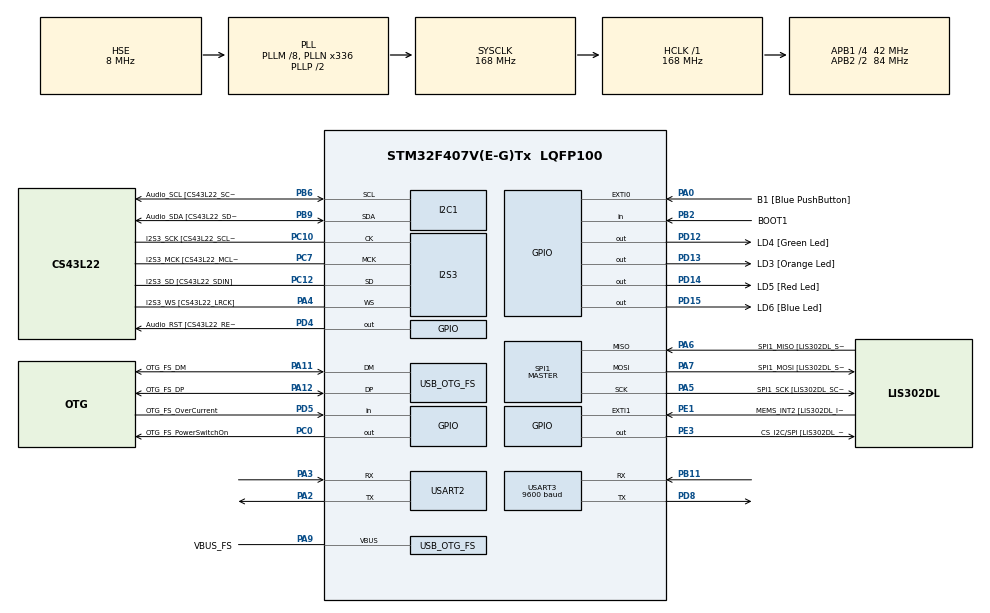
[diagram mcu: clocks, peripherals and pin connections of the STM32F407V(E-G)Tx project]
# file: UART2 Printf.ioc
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I2S3.AudioFreq-Half_Duplex_Master=I2S_AUDIOFREQ_96K
I2S3.ErrorAudioFreq=-2.34 %
I2S3.ErrorAudioFreq-Half_Duplex_Master=0.8 %
I2S3.FullDuplexMode=I2S_FULLDUPLEXMODE_DISABLE
I2S3.Instance=SPI$Index
I2S3.RealAudioFreq=93.75 KHz
I2S3.RealAudioFreq-Half_Duplex_Master=96.774 KHz
I2S3.VirtualMode=I2S_MODE_MASTER
Mcu.Family=STM32F4
Mcu.Name=STM32F407V(E-G)Tx
Mcu.Package=LQFP100
NVIC.OTG_FS_IRQn=true\:0\:0\:false\:false\:true\:true\:true
NVIC.PriorityGroup=NVIC_PRIORITYGROUP_0
PA0-WKUP.GPIO_Label=B1 [Blue PushButton]
PA0-WKUP.GPIO_ModeDefaultEXTI=GPIO_MODE_EVT_RISING
PA0-WKUP.GPIO_PuPd=GPIO_NOPULL
PA0-WKUP.Signal=GPXTI0
PA10.GPIO_Label=OTG_FS_ID
PA10.GPIO_Mode=GPIO_MODE_AF_PP
PA10.GPIO_PuPd=GPIO_NOPULL
PA10.GPIO_Speed=GPIO_SPEED_FREQ_LOW
PA10.Signal=USB_OTG_FS_ID
PA11.GPIO_Label=OTG_FS_DM
PA11.GPIO_Mode=GPIO_MODE_AF_PP
PA11.GPIO_PuPd=GPIO_NOPULL
PA11.GPIO_Speed=GPIO_SPEED_FREQ_LOW
PA11.Mode=Host_Only
PA11.Signal=USB_OTG_FS_DM
PA12.GPIO_Label=OTG_FS_DP
PA12.GPIO_Mode=GPIO_MODE_AF_PP
PA12.GPIO_PuPd=GPIO_NOPULL
PA12.GPIO_Speed=GPIO_SPEED_FREQ_LOW
PA12.Mode=Host_Only
PA12.Signal=USB_OTG_FS_DP
PA13.GPIO_Label=SWDIO
PA13.Mode=Serial_Wire
PA13.Signal=SYS_JTMS-SWDIO
PA14.GPIO_Label=SWCLK
PA14.Mode=Serial_Wire
PA14.Signal=SYS_JTCK-SWCLK
PA2.Mode=Asynchronous
PA2.Signal=USART2_TX
PA3.Mode=Asynchronous
PA3.Signal=USART2_RX
PA4.GPIO_Label=I2S3_WS [CS43L22_LRCK]
PA4.GPIO_Mode=GPIO_MODE_AF_PP
PA4.GPIO_PuPd=GPIO_NOPULL
PA4.GPIO_Speed=GPIO_SPEED_FREQ_LOW
PA4.Mode=Half_Duplex_Master
PA4.Signal=I2S3_WS
PA5.GPIO_Label=SPI1_SCK [LIS302DL_SCL/SPC]
PA5.GPIO_Mode=GPIO_MODE_AF_PP
PA5.GPIO_PuPd=GPIO_NOPULL
PA5.GPIO_Speed=GPIO_SPEED_FREQ_LOW
PA5.Mode=Full_Duplex_Master
PA5.Signal=SPI1_SCK
PA6.GPIO_Label=SPI1_MISO [LIS302DL_SDO]
PA6.GPIO_Mode=GPIO_MODE_AF_PP
PA6.GPIO_PuPd=GPIO_NOPULL
PA6.GPIO_Speed=GPIO_SPEED_FREQ_LOW
PA6.Mode=Full_Duplex_Master
PA6.Signal=SPI1_MISO
PA7.GPIO_Label=SPI1_MOSI [LIS302DL_SDA/SDI/SDO]
PA7.GPIO_Mode=GPIO_MODE_AF_PP
PA7.GPIO_PuPd=GPIO_NOPULL
PA7.GPIO_Speed=GPIO_SPEED_FREQ_LOW
PA7.Mode=Full_Duplex_Master
PA7.Signal=SPI1_MOSI
PA9.GPIO_Label=VBUS_FS
PA9.GPIO_Mode=GPIO_MODE_INPUT
PA9.GPIO_PuPd=GPIO_NOPULL
PA9.Mode=Activate_VBUS
PA9.Signal=USB_OTG_FS_VBUS
PB10.GPIO_Label=CLK_IN [MP45DT02_CLK]
PB10.GPIO_Mode=GPIO_MODE_AF_PP
PB10.GPIO_PuPd=GPIO_NOPULL
PB10.GPIO_Speed=GPIO_SPEED_FREQ_LOW
PB10.Signal=I2S2_CK
PB11.Mode=Asynchronous
PB11.Signal=USART3_RX
PB2.GPIO_Label=BOOT1
PB2.GPIO_Mode=GPIO_MODE_INPUT
PB2.GPIO_PuPd=GPIO_NOPULL
PB2.Signal=GPIO_Input
PB3.GPIO_Label=SWO
PB3.Signal=SYS_JTDO-SWO
PB6.GPIO_Label=Audio_SCL [CS43L22_SCL]
PB6.GPIO_Mode=GPIO_MODE_AF_OD
PB6.GPIO_Pu=GPIO_PULLUP
PB6.GPIO_PuPd=GPIO_NOPULL
PB6.GPIO_Speed=GPIO_SPEED_FREQ_LOW
PB6.Mode=I2C
PB6.Signal=I2C1_SCL
PB9.GPIO_Label=Audio_SDA [CS43L22_SDA]
PB9.GPIO_Mode=GPIO_MODE_AF_OD
PB9.GPIO_Pu=GPIO_PULLUP
PB9.GPIO_PuPd=GPIO_NOPULL
PB9.GPIO_Speed=GPIO_SPEED_FREQ_LOW
PB9.Mode=I2C
PB9.Signal=I2C1_SDA
PC0.GPIO_Label=OTG_FS_PowerSwitchOn
PC0.GPIO_PuPd=GPIO_NOPULL
PC0.GPIO_Speed=GPIO_SPEED_FREQ_LOW
PC0.PinState=GPIO_PIN_SET
PC0.Signal=GPIO_Output
PC10.GPIO_Label=I2S3_SCK [CS43L22_SCLK]
PC10.GPIO_Mode=GPIO_MODE_AF_PP
PC10.GPIO_PuPd=GPIO_NOPULL
PC10.GPIO_Speed=GPIO_SPEED_FREQ_LOW
PC10.Mode=Half_Duplex_Master
PC10.Signal=I2S3_CK
PC12.GPIO_Label=I2S3_SD [CS43L22_SDIN]
PC12.GPIO_Mode=GPIO_MODE_AF_PP
PC12.GPIO_PuPd=GPIO_NOPULL
PC12.GPIO_Speed=GPIO_SPEED_FREQ_LOW
PC12.Mode=Half_Duplex_Master
PC12.Signal=I2S3_SD
PC14-OSC32_IN.GPIO_Label=PC14-OSC32_IN
PC14-OSC32_IN.Mode=LSE-External-Oscillator
PC14-OSC32_IN.Signal=RCC_OSC32_IN
PC15-OSC32_OUT.GPIO_Label=PC15-OSC32_OUT
PC15-OSC32_OUT.Mode=LSE-External-Oscillator
PC15-OSC32_OUT.Signal=RCC_OSC32_OUT
PC3.GPIO_Label=PDM_OUT [MP45DT02_DOUT]
PC3.GPIO_Mode=GPIO_MODE_AF_PP
PC3.GPIO_PuPd=GPIO_NOPULL
PC3.GPIO_Speed=GPIO_SPEED_FREQ_LOW
PC3.Signal=I2S2_SD
PC7.GPIO_Label=I2S3_MCK [CS43L22_MCLK]
PC7.GPIO_Mode=GPIO_MODE_AF_PP
PC7.GPIO_PuPd=GPIO_NOPULL
PC7.GPIO_Speed=GPIO_SPEED_FREQ_LOW
PC7.Mode=Master_Clock_Activated
PC7.Signal=I2S3_MCK
PD12.GPIO_Label=LD4 [Green Led]
PD12.GPIO_PuPd=GPIO_NOPULL
PD12.GPIO_Speed=GPIO_SPEED_FREQ_LOW
PD12.Signal=GPIO_Output
PD13.GPIO_Label=LD3 [Orange Led]
PD13.GPIO_PuPd=GPIO_NOPULL
PD13.GPIO_Speed=GPIO_SPEED_FREQ_LOW
PD13.Signal=GPIO_Output
PD14.GPIO_Label=LD5 [Red Led]
PD14.GPIO_PuPd=GPIO_NOPULL
PD14.GPIO_Speed=GPIO_SPEED_FREQ_LOW
PD14.Signal=GPIO_Output
PD15.GPIO_Label=LD6 [Blue Led]
PD15.GPIO_PuPd=GPIO_NOPULL
PD15.GPIO_Speed=GPIO_SPEED_FREQ_LOW
PD15.Signal=GPIO_Output
PD4.GPIO_Label=Audio_RST [CS43L22_RESET]
PD4.GPIO_PuPd=GPIO_NOPULL
PD4.GPIO_Speed=GPIO_SPEED_FREQ_LOW
PD4.Signal=GPIO_Output
PD5.GPIO_Label=OTG_FS_OverCurrent
PD5.GPIO_Mode=GPIO_MODE_INPUT
PD5.GPIO_PuPd=GPIO_NOPULL
PD5.Signal=GPIO_Input
PD8.Mode=Asynchronous
PD8.Signal=USART3_TX
PE1.GPIO_Label=MEMS_INT2 [LIS302DL_INT2]
PE1.GPIO_ModeDefaultEXTI=GPIO_MODE_EVT_RISING
PE1.GPIO_PuPd=GPIO_NOPULL
PE1.Signal=GPXTI1
PE3.GPIO_Label=CS_I2C/SPI [LIS302DL_CS_I2C/SPI]
PE3.GPIO_PuPd=GPIO_NOPULL
PE3.GPIO_Speed=GPIO_SPEED_FREQ_LOW
PE3.Signal=GPIO_Output
PH0-OSC_IN.GPIO_Label=PH0-OSC_IN
PH0-OSC_IN.Mode=HSE-External-Oscillator
PH0-OSC_IN.Signal=RCC_OSC_IN
PH1-OSC_OUT.GPIO_Label=PH1-OSC_OUT
PH1-OSC_OUT.Mode=HSE-External-Oscillator
PH1-OSC_OUT.Signal=RCC_OSC_OUT
ProjectManager.HeapSize=0x200
ProjectManager.StackSize=0x400
ProjectManager.TargetToolchain=STM32CubeIDE
RCC.48MHZClocksFreq_Value=48000000
RCC.AHBFreq_Value=168000000
RCC.APB1CLKDivider=RCC_HCLK_DIV4
RCC.APB1Freq_Value=42000000
RCC.APB1TimFreq_Value=84000000
RCC.APB2CLKDivider=RCC_HCLK_DIV2
RCC.APB2Freq_Value=84000000
RCC.APB2TimFreq_Value=168000000
RCC.CortexFreq_Value=168000000
RCC.HCLKFreq_Value=168000000
RCC.HSE_VALUE=8000000
RCC.HSI_VALUE=16000000
RCC.PLLM=8
RCC.PLLN=336
RCC.PLLQ=7
RCC.SYSCLKFreq_VALUE=168000000
RCC.SYSCLKSource=RCC_SYSCLKSOURCE_PLLCLK
RCC.VCOOutputFreq_Value=336000000
SPI1.BaudRatePrescaler-Full_Duplex_Master=SPI_BAUDRATEPRESCALER_2
SPI1.CalculateBaudRate-Full_Duplex_Master=42.0 MBits/s
SPI1.Direction=SPI_DIRECTION_2LINES
SPI1.Mode=SPI_MODE_MASTER
SPI1.Mode-Full_Duplex_Master=SPI_MODE_MASTER
SPI1.VirtualType=VM_MASTER
USART2.VirtualMode=VM_ASYNC
USART3.BaudRate=9600
USART3.VirtualMode=VM_ASYNC
USB_HOST.BSP.number=1
USB_HOST.USBH_HandleTypeDef-CDC_FS=hUsbHostFS
USB_HOST.VirtualModeFS=Cdc
USB_HOST0.BSP.STBoard=false
USB_HOST0.BSP.api=Unknown
USB_HOST0.BSP.i2caddr=0
USB_HOST0.BSP.i2creg=0
USB_HOST0.BSP.instance=PC0
USB_HOST0.BSP.ip=GPIO
USB_HOST0.BSP.mode=Output
USB_HOST0.BSP.name=Drive_VBUS_FS
USB_HOST0.BSP.solution=PC0
USB_OTG_FS.VirtualMode=Host_Only
USB_OTG_FS.phy_itface=HCD_PHY_EMBEDDED
VP_USB_HOST_VS_USB_HOST_CDC_FS.Mode=CDC_FS
board=STM32F407G-DISC1

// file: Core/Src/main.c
/* USER CODE BEGIN Header */
/**
  ******************************************************************************
  * @file           : main.c
  * @brief          : Main program body
  ******************************************************************************
  * @attention
  *
  * <h2><center>&copy; Copyright (c) 2020 STMicroelectronics.
  * All rights reserved.</center></h2>
  *
  * This software component is licensed by ST under Ultimate Liberty license
  * SLA0044, the "License"; You may not use this file except in compliance with
  * the License. You may obtain a copy of the License at:
  *                             www.st.com/SLA0044
  *
  ******************************************************************************
  */
/* USER CODE END Header */
#include "main.h"
#include "i2c.h"
#include "i2s.h"
#include "spi.h"
#include "usart.h"
#include "usb_host.h"
#include "gpio.h"

/* USER CODE BEGIN Includes */
#include	<stdio.h>
/* USER CODE END Includes */

void SystemClock_Config(void);
void MX_USB_HOST_Process(void);

/* USER CODE BEGIN PFP */
#ifdef __GNUC__
#define PUTCHAR_PROTOTYPE int __io_putchar(int ch)
#else
#define PUTCHAR_PROTOTYPE int fputc(int ch, FILE *f)
#endif
/* USER CODE END PFP */

/* USER CODE BEGIN 0 */
PUTCHAR_PROTOTYPE
{
  HAL_UART_Transmit(&huart2, (uint8_t *)&ch, 1, HAL_MAX_DELAY);
  return ch;
}
/* USER CODE END 0 */

int main(void)
{

  /* MCU Configuration--------------------------------------------------------*/

  /* Reset of all peripherals, Initializes the Flash interface and the Systick. */
  HAL_Init();

  /* Configure the system clock */
  SystemClock_Config();

  /* Initialize all configured peripherals */
  MX_GPIO_Init();
  MX_I2C1_Init();
  MX_I2S3_Init();
  MX_SPI1_Init();
  MX_USART2_UART_Init();
  MX_USB_HOST_Init();
  MX_USART3_UART_Init();
  /* USER CODE BEGIN 2 */
  HAL_GPIO_WritePin(GPIOD,GPIO_PIN_12,GPIO_PIN_SET);
  HAL_GPIO_WritePin(GPIOD,GPIO_PIN_13,GPIO_PIN_SET);
  HAL_GPIO_WritePin(GPIOD,GPIO_PIN_14,GPIO_PIN_SET);
  HAL_GPIO_WritePin(GPIOD,GPIO_PIN_15,GPIO_PIN_SET);
  /* USER CODE END 2 */

  /* Infinite loop */
  /* USER CODE BEGIN WHILE */
  int		cnt = 0;
  double	d = 1.234;

  while (1)
  {
	  printf("Hello World %d %f\n",cnt++,d);
	  HAL_Delay(1000);
	  /* USER CODE END WHILE */
	  MX_USB_HOST_Process();

  }
}

void SystemClock_Config(void)
{
  RCC_OscInitTypeDef RCC_OscInitStruct = {0};
  RCC_ClkInitTypeDef RCC_ClkInitStruct = {0};

  /** Configure the main internal regulator output voltage
  */
  __HAL_RCC_PWR_CLK_ENABLE();
  __HAL_PWR_VOLTAGESCALING_CONFIG(PWR_REGULATOR_VOLTAGE_SCALE1);
  /** Initializes the RCC Oscillators according to the specified parameters
  * in the RCC_OscInitTypeDef structure.
  */
  RCC_OscInitStruct.OscillatorType = RCC_OSCILLATORTYPE_HSE;
  RCC_OscInitStruct.HSEState = RCC_HSE_ON;
  RCC_OscInitStruct.PLL.PLLState = RCC_PLL_ON;
  RCC_OscInitStruct.PLL.PLLSource = RCC_PLLSOURCE_HSE;
  RCC_OscInitStruct.PLL.PLLM = 8;
  RCC_OscInitStruct.PLL.PLLN = 336;
  RCC_OscInitStruct.PLL.PLLP = RCC_PLLP_DIV2;
  RCC_OscInitStruct.PLL.PLLQ = 7;
  if (HAL_RCC_OscConfig(&RCC_OscInitStruct) != HAL_OK)
  {
    Error_Handler();
  }
  /** Initializes the CPU, AHB and APB buses clocks
  */
  RCC_ClkInitStruct.ClockType = RCC_CLOCKTYPE_HCLK|RCC_CLOCKTYPE_SYSCLK
                              |RCC_CLOCKTYPE_PCLK1|RCC_CLOCKTYPE_PCLK2;
  RCC_ClkInitStruct.SYSCLKSource = RCC_SYSCLKSOURCE_PLLCLK;
  RCC_ClkInitStruct.AHBCLKDivider = RCC_SYSCLK_DIV1;
  RCC_ClkInitStruct.APB1CLKDivider = RCC_HCLK_DIV4;
  RCC_ClkInitStruct.APB2CLKDivider = RCC_HCLK_DIV2;

  if (HAL_RCC_ClockConfig(&RCC_ClkInitStruct, FLASH_LATENCY_5) != HAL_OK)
  {
    Error_Handler();
  }
}

void Error_Handler(void)
{
}
